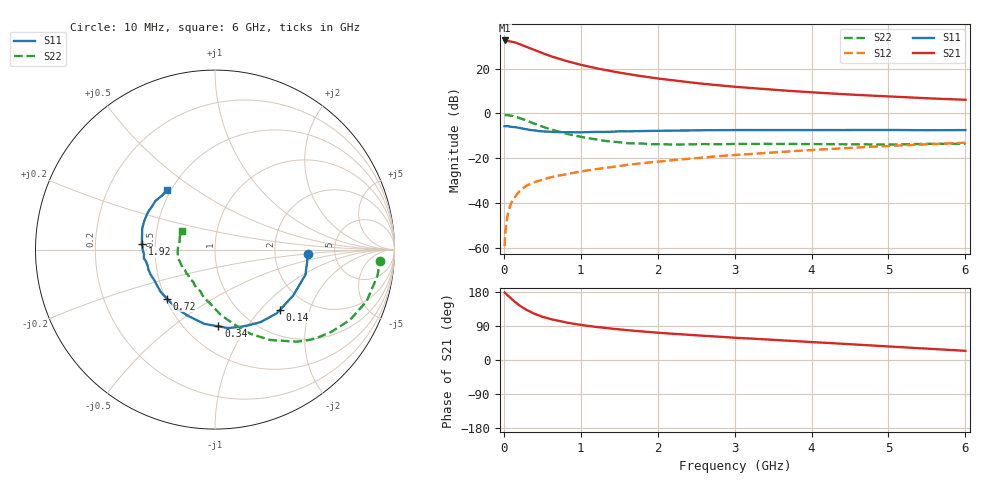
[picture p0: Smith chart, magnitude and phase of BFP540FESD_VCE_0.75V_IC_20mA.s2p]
! Infineon Technologies  Discrete & RF Semiconductors
! BFP540FESD
! VCE = 0.75 V,  IC =  20 mA
! Common Emitter S-Parameters:  Nov 2015
# GHz  S  MA  R  50
!  f  S11  S21  S12  S22
! GHz  MAG  ANG  MAG  ANG  MAG  ANG  MAG  ANG
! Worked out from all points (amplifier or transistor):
!   210 points, 10 MHz to 6 GHz, reference 50 ohm
!   highest |S21| = 32.5 dB at 10 MHz (marker M1)
!   |S21| within 3 dB of that: start of sweep to 307 MHz
!   unconditionally stable (mu >= 1): start of sweep to 11.72 MHz; 1.639 GHz to end of sweep
!   at 185 MHz: K = 0.30, MSG = 33.3 dB, |S12| = -35.4 dB
!   at 1.52 GHz: K = 0.97, MSG = 20.7 dB, |S12| = -23.3 dB
!   at 6 GHz: K = 1.16, MAG = 7.1 dB, |S12| = -13.1 dB
!   S11 on the Smith chart (normalised r, x): 10 MHz: 3.15, -0.20; 140 MHz: 1.46, -1.29; 340 MHz: 0.71, -0.75; 720 MHz: 0.51, -0.32; 1.92 GHz: 0.42, +0.03; 6 GHz: 0.48, +0.39
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0.01  0.5202 -2.5  42.25 177.9  0.0011 90.5  0.9194 -4.1
0.02  0.5175 -8.0  41.21 176.3  0.0023 92.4  0.9234 -3.3
0.05  0.5232 -15.5  41.17 170.7  0.0054 84.1  0.9166 -9.2
0.1  0.5052 -30.4  39.75 161.1  0.0104 79.7  0.8926 -18.8
0.14  0.4937 -42.7  38.27 154.2  0.0134 74.8  0.8555 -25.7
0.2  0.4776 -57.7  35.33 144.4  0.0181 70.5  0.7931 -35.4
0.24  0.4601 -66.9  33.23 139.0  0.0208 68.2  0.7503 -41.0
0.3  0.443 -80.6  30.25 131.5  0.0248 64.6  0.686 -48.4
0.34  0.4282 -87.4  28.34 128.0  0.0266 63.1  0.6452 -52.1
0.4  0.418 -98.2  25.71 121.7  0.0294 61.1  0.59 -58.6
0.5  0.3984 -112.5  22.06 114.1  0.0333 59.7  0.5088 -67.2
0.6  0.3913 -123.8  19.09 108.3  0.0373 58.5  0.4456 -73.7
0.72  0.3822 -134.5  16.45 102.7  0.0413 58.3  0.391 -80.7
0.9  0.3802 -148.1  13.39 95.8  0.0473 58.2  0.3259 -90.6
1.02  0.3796 -154.5  11.91 92.2  0.0514 58.0  0.2964 -96.4
1.4  0.3905 -170.4  8.728 82.8  0.064 57.5  0.2375 -115.1
1.92  0.4081 175.9  6.277 73.4  0.0818 56.3  0.2058 -136.9
2.02  0.4103 173.0  5.944 71.7  0.0846 55.7  0.2067 -140.4
3.1  0.4255 157.4  3.808 57.8  0.1213 50.9  0.209 -164.9
4.1  0.4265 148.7  2.883 46.3  0.1563 45.0  0.2072 -179.9
5.1  0.4269 139.6  2.344 34.6  0.1915 36.9  0.2034 165.5
6  0.4251 128.6  2.012 24.2  0.2222 29.3  0.2114 151.0
